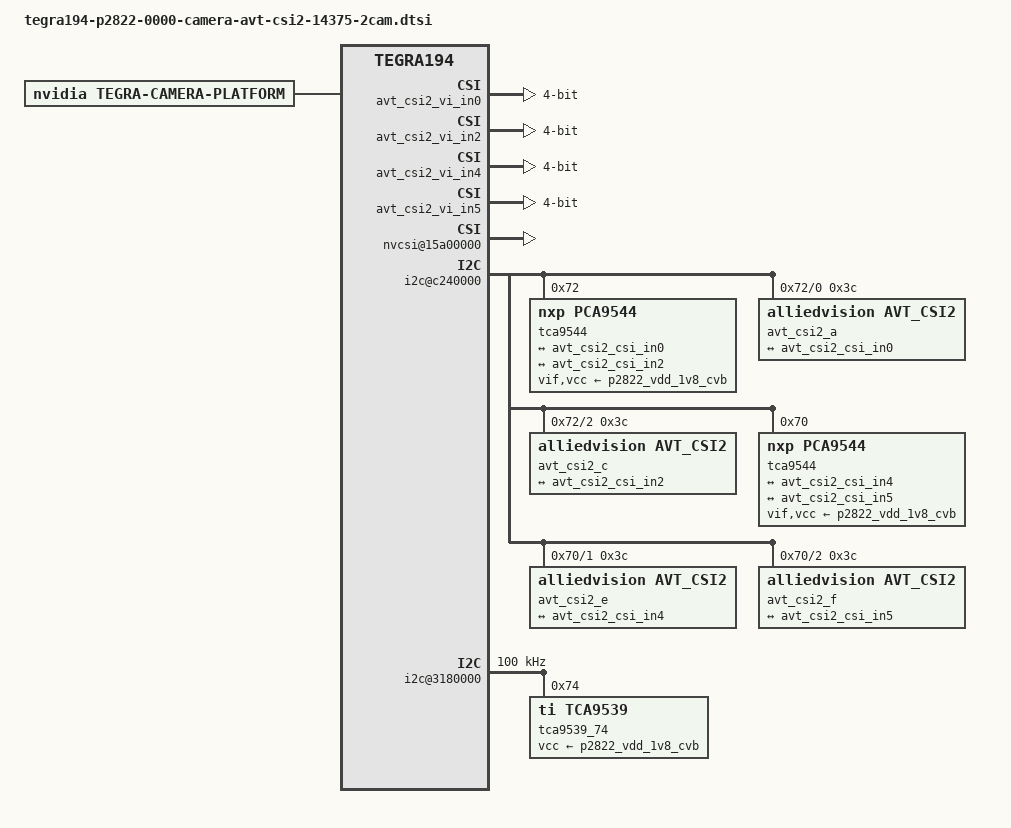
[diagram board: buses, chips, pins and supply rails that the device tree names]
/**
 * 4-cam device tree for AlliedVision sensors
 * Supports following series:
 *  - 1800C -507c
 *  - 1500C -500c
 */

 / {
    /**
	 * i2c-mux @72
	 * CAM A --> 4 lanes	(VI port-index = 0)
	 * CAM C --> 4 lanes	(VI port-index = 2)
	 *
	 * i2c-mux @70
	 * CAM E --> 4 lanes	(VI port-index = 4)
	 * CAM F --> 4 lanes	(VI port-index = 5)	 
	 */

	tegra-capture-vi {
			num-channels = <4>;
            status="okay";
			ports {
				#address-cells = <1>;
				#size-cells = <0>;
				port@0 {
					reg = <0>;
                    status="okay";
				    avt_csi2_vi_in0: endpoint {
                        status="okay";
						port-index = <0>;
						bus-width = <4>;
						remote-endpoint = <&avt_csi2_csi_out0>;
					};
				};
				
				port@1 {
					reg = <1>;
                    status="okay";
				    avt_csi2_vi_in2: endpoint {
                        status="okay";
						port-index = <2>;
						bus-width = <4>;
						remote-endpoint = <&avt_csi2_csi_out2>;
					};
				};
				
				port@2 {
					reg = <2>;
                    status="okay";
				    avt_csi2_vi_in4: endpoint {
                        status="okay";
						port-index = <4>;
						bus-width = <4>;
						remote-endpoint = <&avt_csi2_csi_out4>;
					};
				};
				
				port@3 {
					reg = <3>;
                    status="okay";
				    avt_csi2_vi_in5: endpoint {
                        status="okay";
						port-index = <5>;
						bus-width = <4>;
						remote-endpoint = <&avt_csi2_csi_out5>;
					};
				};
			
			};
		};

	host1x@13e00000 {
		nvcsi@15a00000 {
			num-channels = <4>;
			#address-cells = <1>;
			#size-cells = <0>;
            status="okay";
			
			channel@0 {
                status="okay";
				reg = <0>;
				ports {
                    status="okay";
				    #address-cells = <1>;
					#size-cells = <0>;
					port@0 {
						reg = <0>;
                        status="okay";
						avt_csi2_csi_in0: endpoint@0 {
                            status="okay";
							port-index = <0>;
							bus-width = <4>;
							remote-endpoint = <&avt_csi2_cam_out0>;
						};
					};
					port@1 {
                        status="okay";
						reg = <1>;
						avt_csi2_csi_out0: endpoint@1 {
                            status="okay";
							remote-endpoint = <&avt_csi2_vi_in0>;
						};
					};
				};
			};
			
			channel@1 {
                status="okay";
				reg = <1>;
				ports {
                    status="okay";
				    #address-cells = <1>;
					#size-cells = <0>;
					port@0 {
						reg = <0>;
                        status="okay";
						avt_csi2_csi_in2: endpoint@2 {
                            status="okay";
							port-index = <2>;
							bus-width = <4>;
							remote-endpoint = <&avt_csi2_cam_out2>;
						};
					};
					port@1 {
                        status="okay";
						reg = <1>;
						avt_csi2_csi_out2: endpoint@3 {
                            status="okay";
							remote-endpoint = <&avt_csi2_vi_in2>;
						};
					};
				};
			};
			
			channel@2 {
                status="okay";
				reg = <2>;
				ports {
                    status="okay";
				    #address-cells = <1>;
					#size-cells = <0>;
					port@0 {
						reg = <0>;
                        status="okay";
						avt_csi2_csi_in4: endpoint@4 {
                            status="okay";
							port-index = <4>;
							bus-width = <4>;
							remote-endpoint = <&avt_csi2_cam_out4>;
						};
					};
					port@1 {
                        status="okay";
						reg = <1>;
						avt_csi2_csi_out4: endpoint@5 {
                            status="okay";
							remote-endpoint = <&avt_csi2_vi_in4>;
						};
					};
				};
			};
			
			channel@3 {
                status="okay";
				reg = <3>;
				ports {
                    status="okay";
				    #address-cells = <1>;
					#size-cells = <0>;
					port@0 {
						reg = <0>;
                        status="okay";
						avt_csi2_csi_in5: endpoint@6 {
                            status="okay";
							port-index = <6>;
							bus-width = <4>;
							remote-endpoint = <&avt_csi2_cam_out5>;
						};
					};
					port@1 {
                        status="okay";
						reg = <1>;
						avt_csi2_csi_out5: endpoint@7 {
                            status="okay";
							remote-endpoint = <&avt_csi2_vi_in5>;
						};
					};
				};
			};
			
		};
	};

	/**I2C2*/
	i2c@c240000 {
		pinctrl-names = "default";
		pinctrl-0 = <&gen8_i2c_pinctrl>;	
	
		status = "okay";
		
		tca9544@72 {
            compatible = "nxp,pca9544";
            reg = <0x72>;
            #address-cells = <1>;
            #size-cells = <0>;
            skip_mux_detect = "yes";

			vif-supply = <&p2822_vdd_1v8_cvb>;
			vcc-supply = <&p2822_vdd_1v8_cvb>;

			vcc_lp = "vcc";			
            force_bus_start = <0x1A>;
            status = "okay";
			i2c@0 {
                reg = <0>;
                i2c-mux,deselect-on-exit;
                #address-cells = <1>;
                #size-cells = <0>;
				
				avt_csi2_a@3c {
					status = "okay";

					clocks = <&bpmp_clks TEGRA194_CLK_EXTPERIPH1>,
							 <&bpmp_clks TEGRA194_CLK_PLLP_OUT0>;
					clock-names = "extperiph1", "pllp_grtba";
					mclk = "extperiph1";
					
					devnode = "video0";
					compatible = "alliedvision,avt_csi2";
					reg = <0x3c>;

					mode0 {
						num_lanes = "4";
						tegra_sinterface = "serial_a";
						discontinuous_clk = "no";
						cil_settletime = "0";
						embedded_metadata_height = "0";

						/* not verified: */
						mclk_khz = "24000";
						phy_mode = "DPHY";
						dpcm_enable = "false";

						active_w = "5488";
						active_h = "4112";
						pixel_t = "bayer_bggr";
						readout_orientation = "0";
						line_length = "5488";
						inherent_gain = "1";
						mclk_multiplier = "31.25";
						pix_clk_hz = "750000000";
						csi_pixel_bit_depth = "4";
						gain_factor = "16";
						framerate_factor = "1000000";
						exposure_factor = "1000000";
						min_gain_val = "16"; /* 1.0 */
						max_gain_val = "256"; /* 16.0 */
						step_gain_val = "1"; /* 0.125 */
						min_hdr_ratio = "1";
						max_hdr_ratio = "64";
						min_framerate = "1500000"; /* 1.5 */
						max_framerate = "30000000"; /* 30 */
						step_framerate = "1";
						min_exp_time = "34"; /* us */
						max_exp_time = "550385"; /* us */
						step_exp_time = "1";
					};
					
					ports {
						#address-cells = <1>;
						#size-cells = <0>;

						port@0 {
							reg = <0>;
							avt_csi2_cam_out0: endpoint {
								port-index = <0>;
								bus-width = <4>;
								remote-endpoint = <&avt_csi2_csi_in0>;
							};
						};
					};
				};
		    };	

			i2c@2 {
                reg = <2>;
                i2c-mux,deselect-on-exit;
                #address-cells = <2>;
                #size-cells = <0>;
				
				avt_csi2_c@3c {
					status = "okay";

					clocks = <&bpmp_clks TEGRA194_CLK_EXTPERIPH1>,
							 <&bpmp_clks TEGRA194_CLK_PLLP_OUT0>;
					clock-names = "extperiph1", "pllp_grtba";
					mclk = "extperiph1";
					
					devnode = "video2";
					compatible = "alliedvision,avt_csi2";
					reg = <0x3c>;

					mode0 {
						num_lanes = "4";
						tegra_sinterface = "serial_c";
						discontinuous_clk = "no";
						cil_settletime = "0";
						embedded_metadata_height = "0";

						/* not verified: */
						mclk_khz = "24000";
						phy_mode = "DPHY";
						dpcm_enable = "false";

						active_w = "5488";
						active_h = "4112";
						pixel_t = "bayer_bggr";
						readout_orientation = "0";
						line_length = "5488";
						inherent_gain = "1";
						mclk_multiplier = "31.25";
						pix_clk_hz = "750000000";
						csi_pixel_bit_depth = "4";
						gain_factor = "16";
						framerate_factor = "1000000";
						exposure_factor = "1000000";
						min_gain_val = "16"; /* 1.0 */
						max_gain_val = "256"; /* 16.0 */
						step_gain_val = "1"; /* 0.125 */
						min_hdr_ratio = "1";
						max_hdr_ratio = "64";
						min_framerate = "1500000"; /* 1.5 */
						max_framerate = "30000000"; /* 30 */
						step_framerate = "1";
						min_exp_time = "34"; /* us */
						max_exp_time = "550385"; /* us */
						step_exp_time = "1";
					};
					
					ports {
						#address-cells = <1>;
						#size-cells = <0>;

						port@0 {
							reg = <0>;
							avt_csi2_cam_out2: endpoint {
								port-index = <2>;
								bus-width = <4>;
								remote-endpoint = <&avt_csi2_csi_in2>;
							};
						};
					};
				};
		    };			
	    };			
	
	tca9544@70 {
            compatible = "nxp,pca9544";
            reg = <0x70>;
            #address-cells = <1>;
            #size-cells = <0>;
            skip_mux_detect = "yes";
			/*
			vif-supply = <&p2822_vdd_3v3_cvb>;
			vcc-supply = <&p2822_vdd_3v3_cvb>;
			*/
			vif-supply = <&p2822_vdd_1v8_cvb>;
			vcc-supply = <&p2822_vdd_1v8_cvb>;

			vcc_lp = "vcc";			
            force_bus_start = <0x1E>;
            status = "okay";

			i2c@0 {
                reg = <1>;
                i2c-mux,deselect-on-exit;
                #address-cells = <1>;
                #size-cells = <0>;
				
				avt_csi2_e@3c {
					status = "okay";

					clocks = <&bpmp_clks TEGRA194_CLK_EXTPERIPH1>,
							 <&bpmp_clks TEGRA194_CLK_PLLP_OUT0>;
					clock-names = "extperiph1", "pllp_grtba";
					mclk = "extperiph1";
					
					devnode = "video4";
					compatible = "alliedvision,avt_csi2";
					reg = <0x3c>;

					mode0 {
						num_lanes = "4";
						tegra_sinterface = "serial_e";
						discontinuous_clk = "no";
						cil_settletime = "0";
						embedded_metadata_height = "0";

						/* not verified: */
						mclk_khz = "24000";
						phy_mode = "DPHY";
						dpcm_enable = "false";

						active_w = "5488";
						active_h = "4112";
						pixel_t = "bayer_bggr";
						readout_orientation = "0";
						line_length = "5488";
						inherent_gain = "1";
						mclk_multiplier = "31.25";
						pix_clk_hz = "750000000";
						csi_pixel_bit_depth = "4";
						gain_factor = "16";
						framerate_factor = "1000000";
						exposure_factor = "1000000";
						min_gain_val = "16"; /* 1.0 */
						max_gain_val = "256"; /* 16.0 */
						step_gain_val = "1"; /* 0.125 */
						min_hdr_ratio = "1";
						max_hdr_ratio = "64";
						min_framerate = "1500000"; /* 1.5 */
						max_framerate = "30000000"; /* 30 */
						step_framerate = "1";
						min_exp_time = "34"; /* us */
						max_exp_time = "550385"; /* us */
						step_exp_time = "1";
					};
					
					ports {
						#address-cells = <1>;
						#size-cells = <0>;

						port@0 {
							reg = <0>;
							avt_csi2_cam_out4: endpoint {
								port-index = <4>;
								bus-width = <4>;
								remote-endpoint = <&avt_csi2_csi_in4>;
							};
						};
					};
				};
		    };

			i2c@1 {
                reg = <2>;
                i2c-mux,deselect-on-exit;
                #address-cells = <1>;
                #size-cells = <0>;
				
				avt_csi2_f@3c {
					status = "okay";

					clocks = <&bpmp_clks TEGRA194_CLK_EXTPERIPH1>,
							 <&bpmp_clks TEGRA194_CLK_PLLP_OUT0>;
					clock-names = "extperiph1", "pllp_grtba";
					mclk = "extperiph1";
					
					devnode = "video5";
					compatible = "alliedvision,avt_csi2";
					reg = <0x3c>;

					mode0 {
						num_lanes = "4";
						tegra_sinterface = "serial_g";
						discontinuous_clk = "no";
						cil_settletime = "0";
						embedded_metadata_height = "0";

						/* not verified: */
						mclk_khz = "24000";
						phy_mode = "DPHY";
						dpcm_enable = "false";

						active_w = "5488";
						active_h = "4112";
						pixel_t = "bayer_bggr";
						readout_orientation = "0";
						line_length = "5488";
						inherent_gain = "1";
						mclk_multiplier = "31.25";
						pix_clk_hz = "750000000";
						csi_pixel_bit_depth = "4";
						gain_factor = "16";
						framerate_factor = "1000000";
						exposure_factor = "1000000";
						min_gain_val = "16"; /* 1.0 */
						max_gain_val = "256"; /* 16.0 */
						step_gain_val = "1"; /* 0.125 */
						min_hdr_ratio = "1";
						max_hdr_ratio = "64";
						min_framerate = "1500000"; /* 1.5 */
						max_framerate = "30000000"; /* 30 */
						step_framerate = "1";
						min_exp_time = "34"; /* us */
						max_exp_time = "550385"; /* us */
						step_exp_time = "1";
					};
					
					ports {
						#address-cells = <1>;
						#size-cells = <0>;

						port@0 {
							reg = <0>;
							avt_csi2_cam_out5: endpoint {
								port-index = <6>;
								bus-width = <4>;
								remote-endpoint = <&avt_csi2_csi_in5>;
							};
						};
					};
				};
		    };
	    };
	};
	
	/**I2C3*/	
    i2c@3180000 {
        clock-frequency = <100000>;
        tca9539_74: tca9539@74 {
            compatible = "ti,tca9539";
            gpio-controller;
            #gpio-cells = <2>;
            reg = <0x74>;
            vcc-supply = <&p2822_vdd_1v8_cvb>;
            status = "okay";
            tca9539_74_outlow {
                /*
                 * GPIO-A  : 
                 * GPIO-B  : 
                 * GPIO-C  : 
                 * GPIO-D  : 
                 * GPIO-E  : 
                 * GPIO-F  : 
                 * GPIO-G  : Derived from dip switch
                 * GPIO-H  : Not used
                 */
                gpio-hog;
                gpios = <0 0 1 0 2 0 3 0 4 0 5 0 6 0 7 0 8 0 9 0 10 0 11 0 12 0 13 0 14 0 15 0>;
                output-high;
                label = "tca9539_74_outlow_0",
                    "tca9539_74_outlow_1",
                    "tca9539_74_outlow_2",
                    "tca9539_74_outlow_3",
                    "tca9539_74_outlow_4",
                    "tca9539_74_outlow_5",
                    "tca9539_74_outlow_6",
                    "tca9539_74_outlow_7",
                    "tca9539_74_outlow_8",
                    "tca9539_74_outlow_9",
                    "tca9539_74_outlow_10",
                    "tca9539_74_outlow_11",
                    "tca9539_74_outlow_12",
                    "tca9539_74_outlow_13";
            };
            tca9539_74_outhigh {
                status= "disabled";
            };
            tca9539_74_input {
                status = "disabled";
            };
        };
    };

	pinmux@2430000 {
		gen8_i2c_pinctrl: gen8_i2c_pinctrl {
			gen8_i2c_scl {
				nvidia,pins = "gen8_i2c_scl_pdd1";
				nvidia,schmitt = <TEGRA_PIN_DISABLE>;
				nvidia,lpdr = <TEGRA_PIN_DISABLE>;
				nvidia,enable-input = <TEGRA_PIN_ENABLE>;
				nvidia,io-high-voltage = <TEGRA_PIN_DISABLE>;
				nvidia,tristate = <TEGRA_PIN_DISABLE>;
				nvidia,pull = <TEGRA_PIN_PULL_NONE>;
			};
			gen8_i2c_sda {
				nvidia,pins = "gen8_i2c_sda_pdd2";
				nvidia,schmitt = <TEGRA_PIN_DISABLE>;
				nvidia,lpdr = <TEGRA_PIN_DISABLE>;
				nvidia,enable-input = <TEGRA_PIN_ENABLE>;
				nvidia,io-high-voltage = <TEGRA_PIN_DISABLE>;
				nvidia,tristate = <TEGRA_PIN_DISABLE>;
				nvidia,pull = <TEGRA_PIN_PULL_NONE>;
			};
		};
	};
};



/ {
	tegra-camera-platform {
		compatible = "nvidia, tegra-camera-platform";
		num_csi_lanes = <18>;
		max_lane_speed = <1500000>;
		min_bits_per_pixel = <8>;
		vi_peak_byte_per_pixel = <2>;
		vi_bw_margin_pct = <25>;
		max_pixel_rate = <160000>;
		isp_peak_byte_per_pixel = <5>;
		isp_bw_margin_pct = <25>;

		/**
		 * The general guideline for naming badge_info contains 3 parts, and is as follows,
		 * The first part is the camera_board_id for the module; if the module is in a FFD
		 * platform, then use the platform name for this part.
		 * The second part contains the position of the module, ex. "rear" or "front".
		 * The third part contains the last 6 characters of a part number which is found
		 * in the module's specsheet from the vender.
		 */
		modules {
			module0 {
				status = "okay";
				badge = "avt_csi2_0";
				position = "top";
				orientation = "1";
				drivernode0 {
					pcl_id = "v4l2_sensor";
					devname = "avt_csi2 0 26-003c";
					proc-device-tree = "/proc/device-tree/i2c@c240000/tca9544@72/i2c@0/avt_csi2_a@3c";					
				};
				drivernode1 {
					pcl_id = "v4l2_lens";
				};
			};
			
			module1 {
				status = "okay";
				badge = "avt_csi2_2";
				position = "bottom";
				orientation = "1";
				drivernode0 {
					pcl_id = "v4l2_sensor";
					devname = "avt_csi2 2 28-003c";
					proc-device-tree = "/proc/device-tree/i2c@c240000/tca9544@72/i2c@2/avt_csi2_c@3c";					
				};
				drivernode1 {
					pcl_id = "v4l2_lens";
				};
			};
			
			module2 {
				status = "okay";
				badge = "avt_csi2_4";
				position = "center-right";
				orientation = "1";
				drivernode0 {
					pcl_id = "v4l2_sensor";
					devname = "avt_csi2 4 30-003c";
					proc-device-tree = "/proc/device-tree/i2c@c240000/tca9544@70/i2c@0/avt_csi2_e@3c";
				};
				drivernode1 {
					pcl_id = "v4l2_lens";
				};
			};
			
			module3 {
				status = "okay";
				badge = "avt_csi2_5";
				position = "topright";
				orientation = "1";
				drivernode0 {
					pcl_id = "v4l2_sensor";
					devname = "avt_csi2 5 31-003c";
					proc-device-tree = "/proc/device-tree/i2c@c240000/tca9544@70/i2c@1/avt_csi2_f@3c";					
				};
				drivernode1 {
					pcl_id = "v4l2_lens";
				};
			};
		};
	};
};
